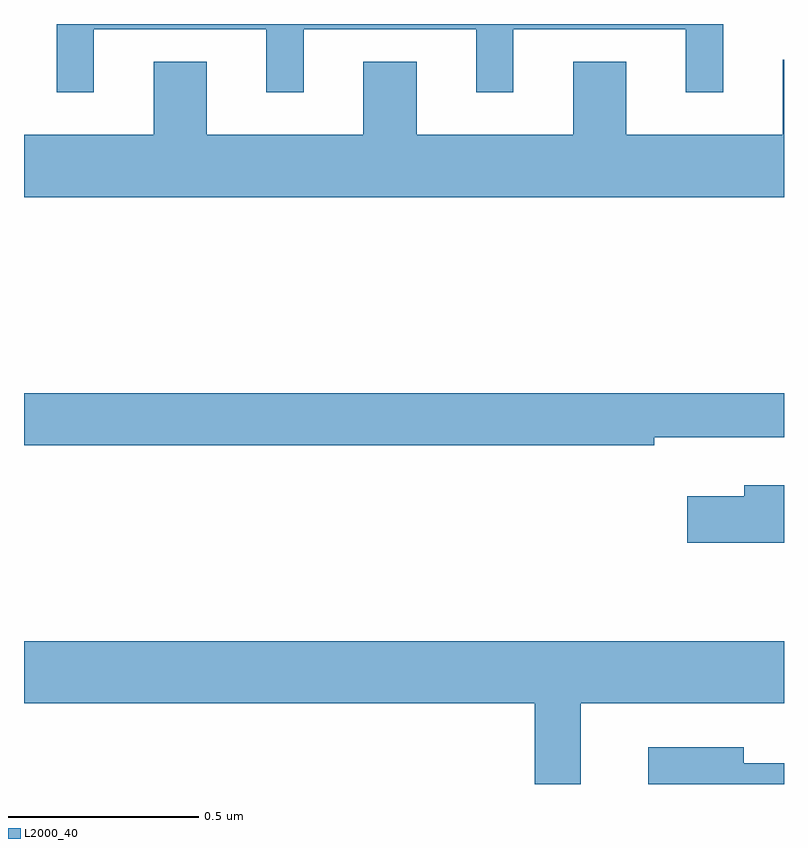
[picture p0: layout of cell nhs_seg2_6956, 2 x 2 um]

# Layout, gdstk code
import gdstk
lib = gdstk.Library(unit=1e-6, precision=1e-09)
def P(c, l, *ps):  # polygons
    for p in ps: c.add(gdstk.Polygon(p, *l))
L2000_40 = (2000, 40)

nhs_seg2_6956 = lib.new_cell('nhs_seg2_6956')
P(nhs_seg2_6956, L2000_40, [(198.184,606.786),(198.638,606.786),(198.638,606.621),(198.736,606.621),(198.736,606.786),(199.19,606.786),(199.19,606.621),(199.288,606.621),(199.288,606.786),(199.742,606.786),(199.742,606.621),(199.84,606.621),(199.84,606.8),(198.086,606.8),(198.086,606.621),(198.184,606.621)],
  [(200,606.706),(199.997,606.706),(199.997,606.508),(199.585,606.508),(199.585,606.701),(199.445,606.701),(199.445,606.508),(199.033,606.508),(199.033,606.701),(198.893,606.701),(198.893,606.508),(198.481,606.508),(198.481,606.701),(198.341,606.701),(198.341,606.508),(198,606.508),(198,606.344),(200,606.344)],
  [(199.658,605.712),(200,605.712),(200,605.828),(198,605.828),(198,605.692),(199.658,605.692)],
  [(200,605.586),(199.895,605.586),(199.895,605.557),(199.746,605.557),(199.746,605.435),(200,605.435)],
  [(199.465,605.012),(200,605.012),(200,605.176),(198,605.176),(198,605.012),(199.344,605.012),(199.344,604.8),(199.465,604.8)],
  [(200,604.855),(199.894,604.855),(199.894,604.897),(199.643,604.897),(199.643,604.8),(200,604.8)])

lib.write_gds('nhs_seg2_6956.gds')
